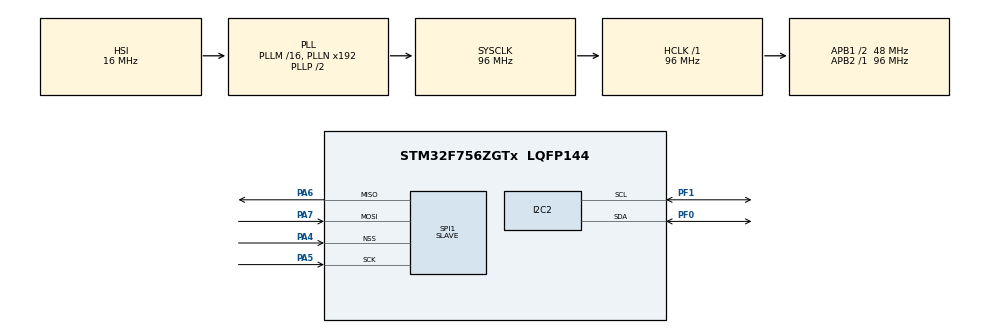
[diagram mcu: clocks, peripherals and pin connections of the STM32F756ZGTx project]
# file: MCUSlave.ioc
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ADC1.Channel-0\#ChannelRegularConversion=ADC_CHANNEL_TEMPSENSOR
ADC1.Channel-1\#ChannelRegularConversion=ADC_CHANNEL_TEMPSENSOR
ADC1.Channel-2\#ChannelRegularConversion=ADC_CHANNEL_TEMPSENSOR
ADC1.Channel-3\#ChannelRegularConversion=ADC_CHANNEL_TEMPSENSOR
ADC1.ContinuousConvMode=ENABLE
ADC1.DMAContinuousRequests=ENABLE
ADC1.NbrOfConversion=4
ADC1.NbrOfConversionFlag=1
ADC1.Rank-0\#ChannelRegularConversion=1
ADC1.Rank-1\#ChannelRegularConversion=2
ADC1.Rank-2\#ChannelRegularConversion=3
ADC1.Rank-3\#ChannelRegularConversion=4
ADC1.SamplingTime-0\#ChannelRegularConversion=ADC_SAMPLETIME_3CYCLES
ADC1.SamplingTime-1\#ChannelRegularConversion=ADC_SAMPLETIME_3CYCLES
ADC1.SamplingTime-2\#ChannelRegularConversion=ADC_SAMPLETIME_3CYCLES
ADC1.SamplingTime-3\#ChannelRegularConversion=ADC_SAMPLETIME_3CYCLES
ADC1.master=1
CORTEX_M7.default_mode_Activation=1
Dma.ADC1.0.Direction=DMA_PERIPH_TO_MEMORY
Dma.ADC1.0.FIFOMode=DMA_FIFOMODE_DISABLE
Dma.ADC1.0.Instance=DMA2_Stream0
Dma.ADC1.0.MemDataAlignment=DMA_MDATAALIGN_HALFWORD
Dma.ADC1.0.MemInc=DMA_MINC_ENABLE
Dma.ADC1.0.Mode=DMA_NORMAL
Dma.ADC1.0.PeriphDataAlignment=DMA_PDATAALIGN_HALFWORD
Dma.ADC1.0.PeriphInc=DMA_PINC_DISABLE
Dma.ADC1.0.Priority=DMA_PRIORITY_LOW
Dma.Request0=ADC1
Dma.Request1=SPI1_RX
Dma.Request2=SPI1_TX
Dma.SPI1_RX.1.Direction=DMA_PERIPH_TO_MEMORY
Dma.SPI1_RX.1.FIFOMode=DMA_FIFOMODE_DISABLE
Dma.SPI1_RX.1.Instance=DMA2_Stream2
Dma.SPI1_RX.1.MemDataAlignment=DMA_MDATAALIGN_BYTE
Dma.SPI1_RX.1.MemInc=DMA_MINC_ENABLE
Dma.SPI1_RX.1.Mode=DMA_NORMAL
Dma.SPI1_RX.1.PeriphDataAlignment=DMA_PDATAALIGN_BYTE
Dma.SPI1_RX.1.PeriphInc=DMA_PINC_DISABLE
Dma.SPI1_RX.1.Priority=DMA_PRIORITY_LOW
Dma.SPI1_TX.2.Direction=DMA_MEMORY_TO_PERIPH
Dma.SPI1_TX.2.FIFOMode=DMA_FIFOMODE_DISABLE
Dma.SPI1_TX.2.Instance=DMA2_Stream3
Dma.SPI1_TX.2.MemDataAlignment=DMA_MDATAALIGN_BYTE
Dma.SPI1_TX.2.MemInc=DMA_MINC_ENABLE
Dma.SPI1_TX.2.Mode=DMA_NORMAL
Dma.SPI1_TX.2.PeriphDataAlignment=DMA_PDATAALIGN_BYTE
Dma.SPI1_TX.2.PeriphInc=DMA_PINC_DISABLE
Dma.SPI1_TX.2.Priority=DMA_PRIORITY_LOW
I2C2.OwnAddress=38
I2C2.Timing=0x20303E5D
Mcu.Family=STM32F7
Mcu.Name=STM32F756ZGTx
Mcu.Package=LQFP144
NVIC.DMA2_Stream0_IRQn=true\:0\:0\:false\:false\:true\:false\:true\:true
NVIC.DMA2_Stream2_IRQn=true\:0\:0\:false\:false\:true\:false\:true\:true
NVIC.DMA2_Stream3_IRQn=true\:0\:0\:false\:false\:true\:false\:true\:true
NVIC.I2C2_EV_IRQn=true\:0\:0\:false\:false\:true\:true\:true\:true
NVIC.PriorityGroup=NVIC_PRIORITYGROUP_4
NVIC.TIM6_DAC_IRQn=true\:0\:0\:false\:false\:true\:true\:true\:true
PA4.Mode=NSS_Signal_Hard_Input
PA4.Signal=SPI1_NSS
PA5.Mode=Full_Duplex_Slave
PA5.Signal=SPI1_SCK
PA6.Mode=Full_Duplex_Slave
PA6.Signal=SPI1_MISO
PA7.Mode=Full_Duplex_Slave
PA7.Signal=SPI1_MOSI
PC14/OSC32_IN.Mode=LSE-External-Oscillator
PC14/OSC32_IN.Signal=RCC_OSC32_IN
PC15/OSC32_OUT.Mode=LSE-External-Oscillator
PC15/OSC32_OUT.Signal=RCC_OSC32_OUT
PF0.GPIO_Pu=GPIO_PULLUP
PF0.Mode=I2C
PF0.Signal=I2C2_SDA
PF1.GPIO_Pu=GPIO_PULLUP
PF1.Mode=I2C
PF1.Signal=I2C2_SCL
ProjectManager.HeapSize=0x200
ProjectManager.StackSize=0x400
ProjectManager.TargetToolchain=STM32CubeIDE
RCC.AHBFreq_Value=96000000
RCC.APB1CLKDivider=RCC_HCLK_DIV2
RCC.APB1Freq_Value=48000000
RCC.APB1TimFreq_Value=96000000
RCC.APB2Freq_Value=96000000
RCC.APB2TimFreq_Value=96000000
RCC.CortexFreq_Value=96000000
RCC.HCLKFreq_Value=96000000
RCC.HSE_VALUE=25000000
RCC.HSI_VALUE=16000000
RCC.RTCClockSelection=RCC_RTCCLKSOURCE_LSE
RCC.SYSCLKFreq_VALUE=96000000
RCC.SYSCLKSource=RCC_SYSCLKSOURCE_PLLCLK
RCC.USBFreq_Value=96000000
RCC.VCOOutputFreq_Value=192000000
SPI1.CLKPhase=SPI_PHASE_2EDGE
SPI1.DataSize=SPI_DATASIZE_8BIT
SPI1.Direction=SPI_DIRECTION_2LINES
SPI1.Mode=SPI_MODE_SLAVE
SPI1.VirtualNSS=VM_NSSHARD
SPI1.VirtualType=VM_SLAVE
TIM6.Period=16000
TIM6.Prescaler=9
VP_ADC1_TempSens_Input.Mode=IN-TempSens
VP_RTC_VS_RTC_Activate.Mode=RTC_Enabled
VP_RTC_VS_RTC_Calendar.Mode=RTC_Calendar
VP_TIM6_VS_ClockSourceINT.Mode=Enable_Timer
board=custom

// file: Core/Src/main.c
/* USER CODE BEGIN Header */
/**
  ******************************************************************************
  * @file           : main.c
  * @brief          : Main program body
  ******************************************************************************
  * @attention
  *
  * Copyright (c) 2025 STMicroelectronics.
  * All rights reserved.
  *
  * This software is licensed under terms that can be found in the LICENSE file
  * in the root directory of this software component.
  * If no LICENSE file comes with this software, it is provided AS-IS.
  *
  ******************************************************************************
  */
/* USER CODE END Header */
#include "main.h"

/* USER CODE BEGIN Includes */
#include <string.h>
/* USER CODE END Includes */

ADC_HandleTypeDef hadc1;
DMA_HandleTypeDef hdma_adc1;

I2C_HandleTypeDef hi2c2;

RTC_HandleTypeDef hrtc;

SPI_HandleTypeDef hspi1;
DMA_HandleTypeDef hdma_spi1_rx;
DMA_HandleTypeDef hdma_spi1_tx;

TIM_HandleTypeDef htim6;

/* USER CODE BEGIN PV */
uint8_t receive_buffer_spi[32] = {0};
uint8_t send_data_spi[32] = {0};
uint8_t receive_buffer[32] = {0};
uint8_t send_data[32] = {0};
uint16_t adcValues[16];
float cpu_temperature = 0;
enum CommandType
{
	RTCRequest = 0x31,
	ResetRTC = 0x32,
	CPUTempRequest = 0x33
};
enum CommandType command = 0;
/* USER CODE END PV */

void SystemClock_Config(void);
static void MPU_Config(void);
static void MX_GPIO_Init(void);
static void MX_DMA_Init(void);
static void MX_SPI1_Init(void);
static void MX_RTC_Init(void);
static void MX_I2C2_Init(void);
static void MX_ADC1_Init(void);
static void MX_TIM6_Init(void);

/* USER CODE BEGIN 0 */
void resetRTC(uint8_t* data)
{
	RTC_TimeTypeDef time = {0};
	RTC_DateTypeDef date = {0};
	time.Hours = data[4];
	time.Minutes = data[5];
	time.Seconds = data[6];
	time.DayLightSaving = RTC_DAYLIGHTSAVING_NONE;
	time.StoreOperation = RTC_STOREOPERATION_RESET;
	if (HAL_RTC_SetTime(&hrtc, &time, RTC_FORMAT_BIN) != HAL_OK)
	{
		Error_Handler();
	}
	date.Year = data[0];
	date.Month = data[1];
	date.Date = data[2];
	date.WeekDay = data[3];

	if (HAL_RTC_SetDate(&hrtc, &date, RTC_FORMAT_BIN) != HAL_OK)
	{
		Error_Handler();
	}
}

void HAL_SPI_TxRxCpltCallback(SPI_HandleTypeDef *hspi)
{

}

void HAL_SPI_ErrorCallback(SPI_HandleTypeDef *hspi)
{
	if (__HAL_SPI_GET_FLAG(hspi, SPI_FLAG_OVR))
	{
		__HAL_SPI_CLEAR_OVRFLAG(hspi);
	}
	HAL_SPI_TransmitReceive_DMA(&hspi1, send_data_spi, receive_buffer_spi, 32);
}

void HAL_I2C_AddrCallback(I2C_HandleTypeDef *hi2c, uint8_t TransferDirection, uint16_t AddrMatchCode)
{
	if (TransferDirection == I2C_DIRECTION_TRANSMIT)
	{
		HAL_I2C_Slave_Seq_Receive_IT(hi2c, receive_buffer, 32, I2C_FIRST_FRAME);
	}
	else
	{
		switch (command)
		{
		case RTCRequest:
		{
			RTC_TimeTypeDef time = {0};
			RTC_DateTypeDef date = {0};
		    if (HAL_RTC_GetTime(&hrtc, &time, RTC_FORMAT_BIN) == HAL_OK &&
		        HAL_RTC_GetDate(&hrtc, &date, RTC_FORMAT_BIN) == HAL_OK)
		    {
		    	send_data[0] = date.Year;
		    	send_data[1] = date.Month;
		    	send_data[2] = date.Date;
		    	send_data[3] = date.WeekDay;
		    	send_data[4] = time.Hours;
		    	send_data[5] = time.Minutes;
		    	send_data[6] = time.Seconds;
		    	HAL_I2C_Slave_Seq_Transmit_IT(hi2c, send_data, 7, I2C_LAST_FRAME);
		    }

			break;
		}
		case CPUTempRequest:
		{
			uint8_t * p_temperature = (uint8_t*)(&cpu_temperature);
			send_data[0] = p_temperature[0];
			send_data[1] = p_temperature[1];
			send_data[2] = p_temperature[2];
			send_data[3] = p_temperature[3];
			HAL_I2C_Slave_Seq_Transmit_IT(hi2c, send_data, 4, I2C_LAST_FRAME);
			break;
		}
		default:
			break;
		}

	}
}

void HAL_I2C_ListenCpltCallback(I2C_HandleTypeDef *hi2c)
{
	HAL_I2C_EnableListen_IT(&hi2c2);
}

void HAL_I2C_SlaveTxCpltCallback(I2C_HandleTypeDef *hi2c)
{
	HAL_I2C_EnableListen_IT(&hi2c2);
}

void HAL_I2C_SlaveRxCpltCallback(I2C_HandleTypeDef *hi2c)
{
	command = receive_buffer[0];
	switch (command)
	{
	case RTCRequest:
	case CPUTempRequest:
		break;
	case ResetRTC:
		resetRTC(&receive_buffer[1]);
		break;
	default:
		break;
	}
	HAL_I2C_EnableListen_IT(&hi2c2);
}

void startADCConversion()
{
	HAL_ADC_Start_DMA(&hadc1, (uint32_t*)adcValues, hadc1.Init.NbrOfConversion);
}

void HAL_ADC_ConvCpltCallback(ADC_HandleTypeDef *hadc)
{
	float temperature = 0;
    for (int i = 0; i < hadc->Init.NbrOfConversion; ++i)
    {
    	temperature += (((float)adcValues[i] * 3.3/4096.0) - 0.76)/2.5 + 25.0;
    }
    cpu_temperature = temperature / (float)hadc->Init.NbrOfConversion;
}

/* USER CODE END 0 */

int main(void)
{

  /* MPU Configuration--------------------------------------------------------*/
  MPU_Config();

  /* MCU Configuration--------------------------------------------------------*/

  /* Reset of all peripherals, Initializes the Flash interface and the Systick. */
  HAL_Init();

  /* Configure the system clock */
  SystemClock_Config();

  /* Initialize all configured peripherals */
  MX_GPIO_Init();
  MX_DMA_Init();
  MX_SPI1_Init();
  MX_RTC_Init();
  MX_I2C2_Init();
  MX_ADC1_Init();
  MX_TIM6_Init();
  /* USER CODE BEGIN 2 */
  //HAL_SPI_TransmitReceive_IT(&hspi1, send_data_spi, receive_buffer_spi, 32);
  HAL_I2C_EnableListen_IT(&hi2c2);
  HAL_TIM_Base_Start_IT(&htim6);
  /* USER CODE END 2 */

  /* Infinite loop */
  while (1)
  {
	  if (hspi1.State == HAL_SPI_STATE_READY)
	  {
			uint32_t ticks = HAL_GetTick();
			uint8_t* p_cputicks = (uint8_t*)&ticks;
			memset(send_data_spi, 0, 32);
			send_data_spi[1] = receive_buffer_spi[1];
			memset(receive_buffer_spi, 0, 32);
			send_data_spi[0] = 6U;
			send_data_spi[2] = p_cputicks[0];
			send_data_spi[3] = p_cputicks[1];
			send_data_spi[4] = p_cputicks[2];
			send_data_spi[5] = p_cputicks[3];
			HAL_SPI_TransmitReceive_DMA(&hspi1, send_data_spi, receive_buffer_spi, 32);
	  }
  }
}

void SystemClock_Config(void)
{
  RCC_OscInitTypeDef RCC_OscInitStruct = {0};
  RCC_ClkInitTypeDef RCC_ClkInitStruct = {0};

  /** Configure LSE Drive Capability
  */
  HAL_PWR_EnableBkUpAccess();
  __HAL_RCC_LSEDRIVE_CONFIG(RCC_LSEDRIVE_LOW);

  /** Configure the main internal regulator output voltage
  */
  __HAL_RCC_PWR_CLK_ENABLE();
  __HAL_PWR_VOLTAGESCALING_CONFIG(PWR_REGULATOR_VOLTAGE_SCALE3);

  /** Initializes the RCC Oscillators according to the specified parameters
  * in the RCC_OscInitTypeDef structure.
  */
  RCC_OscInitStruct.OscillatorType = RCC_OSCILLATORTYPE_HSI|RCC_OSCILLATORTYPE_LSE;
  RCC_OscInitStruct.LSEState = RCC_LSE_ON;
  RCC_OscInitStruct.HSIState = RCC_HSI_ON;
  RCC_OscInitStruct.HSICalibrationValue = RCC_HSICALIBRATION_DEFAULT;
  RCC_OscInitStruct.PLL.PLLState = RCC_PLL_ON;
  RCC_OscInitStruct.PLL.PLLSource = RCC_PLLSOURCE_HSI;
  RCC_OscInitStruct.PLL.PLLM = 16;
  RCC_OscInitStruct.PLL.PLLN = 192;
  RCC_OscInitStruct.PLL.PLLP = RCC_PLLP_DIV2;
  RCC_OscInitStruct.PLL.PLLQ = 2;
  if (HAL_RCC_OscConfig(&RCC_OscInitStruct) != HAL_OK)
  {
    Error_Handler();
  }

  /** Activate the Over-Drive mode
  */
  if (HAL_PWREx_EnableOverDrive() != HAL_OK)
  {
    Error_Handler();
  }

  /** Initializes the CPU, AHB and APB buses clocks
  */
  RCC_ClkInitStruct.ClockType = RCC_CLOCKTYPE_HCLK|RCC_CLOCKTYPE_SYSCLK
                              |RCC_CLOCKTYPE_PCLK1|RCC_CLOCKTYPE_PCLK2;
  RCC_ClkInitStruct.SYSCLKSource = RCC_SYSCLKSOURCE_PLLCLK;
  RCC_ClkInitStruct.AHBCLKDivider = RCC_SYSCLK_DIV1;
  RCC_ClkInitStruct.APB1CLKDivider = RCC_HCLK_DIV2;
  RCC_ClkInitStruct.APB2CLKDivider = RCC_HCLK_DIV1;

  if (HAL_RCC_ClockConfig(&RCC_ClkInitStruct, FLASH_LATENCY_3) != HAL_OK)
  {
    Error_Handler();
  }
}

static void MX_ADC1_Init(void)
{

  ADC_ChannelConfTypeDef sConfig = {0};

  /** Configure the global features of the ADC (Clock, Resolution, Data Alignment and number of conversion)
  */
  hadc1.Instance = ADC1;
  hadc1.Init.ClockPrescaler = ADC_CLOCK_SYNC_PCLK_DIV4;
  hadc1.Init.Resolution = ADC_RESOLUTION_12B;
  hadc1.Init.ScanConvMode = ADC_SCAN_ENABLE;
  hadc1.Init.ContinuousConvMode = ENABLE;
  hadc1.Init.DiscontinuousConvMode = DISABLE;
  hadc1.Init.ExternalTrigConvEdge = ADC_EXTERNALTRIGCONVEDGE_NONE;
  hadc1.Init.ExternalTrigConv = ADC_SOFTWARE_START;
  hadc1.Init.DataAlign = ADC_DATAALIGN_RIGHT;
  hadc1.Init.NbrOfConversion = 4;
  hadc1.Init.DMAContinuousRequests = ENABLE;
  hadc1.Init.EOCSelection = ADC_EOC_SINGLE_CONV;
  if (HAL_ADC_Init(&hadc1) != HAL_OK)
  {
    Error_Handler();
  }

  /** Configure for the selected ADC regular channel its corresponding rank in the sequencer and its sample time.
  */
  sConfig.Channel = ADC_CHANNEL_TEMPSENSOR;
  sConfig.Rank = ADC_REGULAR_RANK_1;
  sConfig.SamplingTime = ADC_SAMPLETIME_3CYCLES;
  if (HAL_ADC_ConfigChannel(&hadc1, &sConfig) != HAL_OK)
  {
    Error_Handler();
  }

  /** Configure for the selected ADC regular channel its corresponding rank in the sequencer and its sample time.
  */
  sConfig.Rank = ADC_REGULAR_RANK_2;
  if (HAL_ADC_ConfigChannel(&hadc1, &sConfig) != HAL_OK)
  {
    Error_Handler();
  }

  /** Configure for the selected ADC regular channel its corresponding rank in the sequencer and its sample time.
  */
  sConfig.Rank = ADC_REGULAR_RANK_3;
  if (HAL_ADC_ConfigChannel(&hadc1, &sConfig) != HAL_OK)
  {
    Error_Handler();
  }

  /** Configure for the selected ADC regular channel its corresponding rank in the sequencer and its sample time.
  */
  sConfig.Rank = ADC_REGULAR_RANK_4;
  if (HAL_ADC_ConfigChannel(&hadc1, &sConfig) != HAL_OK)
  {
    Error_Handler();
  }

}

static void MX_I2C2_Init(void)
{

  hi2c2.Instance = I2C2;
  hi2c2.Init.Timing = 0x20303E5D;
  hi2c2.Init.OwnAddress1 = 76;
  hi2c2.Init.AddressingMode = I2C_ADDRESSINGMODE_7BIT;
  hi2c2.Init.DualAddressMode = I2C_DUALADDRESS_DISABLE;
  hi2c2.Init.OwnAddress2 = 0;
  hi2c2.Init.OwnAddress2Masks = I2C_OA2_NOMASK;
  hi2c2.Init.GeneralCallMode = I2C_GENERALCALL_DISABLE;
  hi2c2.Init.NoStretchMode = I2C_NOSTRETCH_DISABLE;
  if (HAL_I2C_Init(&hi2c2) != HAL_OK)
  {
    Error_Handler();
  }

  /** Configure Analogue filter
  */
  if (HAL_I2CEx_ConfigAnalogFilter(&hi2c2, I2C_ANALOGFILTER_ENABLE) != HAL_OK)
  {
    Error_Handler();
  }

  /** Configure Digital filter
  */
  if (HAL_I2CEx_ConfigDigitalFilter(&hi2c2, 0) != HAL_OK)
  {
    Error_Handler();
  }

}

static void MX_RTC_Init(void)
{

  RTC_TimeTypeDef sTime = {0};
  RTC_DateTypeDef sDate = {0};

  /** Initialize RTC Only
  */
  hrtc.Instance = RTC;
  hrtc.Init.HourFormat = RTC_HOURFORMAT_24;
  hrtc.Init.AsynchPrediv = 127;
  hrtc.Init.SynchPrediv = 255;
  hrtc.Init.OutPut = RTC_OUTPUT_DISABLE;
  hrtc.Init.OutPutPolarity = RTC_OUTPUT_POLARITY_HIGH;
  hrtc.Init.OutPutType = RTC_OUTPUT_TYPE_OPENDRAIN;
  if (HAL_RTC_Init(&hrtc) != HAL_OK)
  {
    Error_Handler();
  }

  /** Initialize RTC and set the Time and Date
  */
  sTime.Hours = 0x0;
  sTime.Minutes = 0x0;
  sTime.Seconds = 0x0;
  sTime.DayLightSaving = RTC_DAYLIGHTSAVING_NONE;
  sTime.StoreOperation = RTC_STOREOPERATION_RESET;
  if (HAL_RTC_SetTime(&hrtc, &sTime, RTC_FORMAT_BCD) != HAL_OK)
  {
    Error_Handler();
  }
  sDate.WeekDay = RTC_WEEKDAY_MONDAY;
  sDate.Month = RTC_MONTH_JANUARY;
  sDate.Date = 0x1;
  sDate.Year = 0x0;

  if (HAL_RTC_SetDate(&hrtc, &sDate, RTC_FORMAT_BCD) != HAL_OK)
  {
    Error_Handler();
  }

}

static void MX_SPI1_Init(void)
{

  /* SPI1 parameter configuration*/
  hspi1.Instance = SPI1;
  hspi1.Init.Mode = SPI_MODE_SLAVE;
  hspi1.Init.Direction = SPI_DIRECTION_2LINES;
  hspi1.Init.DataSize = SPI_DATASIZE_8BIT;
  hspi1.Init.CLKPolarity = SPI_POLARITY_LOW;
  hspi1.Init.CLKPhase = SPI_PHASE_2EDGE;
  hspi1.Init.NSS = SPI_NSS_HARD_INPUT;
  hspi1.Init.FirstBit = SPI_FIRSTBIT_MSB;
  hspi1.Init.TIMode = SPI_TIMODE_DISABLE;
  hspi1.Init.CRCCalculation = SPI_CRCCALCULATION_DISABLE;
  hspi1.Init.CRCPolynomial = 7;
  hspi1.Init.CRCLength = SPI_CRC_LENGTH_DATASIZE;
  hspi1.Init.NSSPMode = SPI_NSS_PULSE_DISABLE;
  if (HAL_SPI_Init(&hspi1) != HAL_OK)
  {
    Error_Handler();
  }

}

static void MX_TIM6_Init(void)
{

  TIM_MasterConfigTypeDef sMasterConfig = {0};

  htim6.Instance = TIM6;
  htim6.Init.Prescaler = 9;
  htim6.Init.CounterMode = TIM_COUNTERMODE_UP;
  htim6.Init.Period = 16000;
  htim6.Init.AutoReloadPreload = TIM_AUTORELOAD_PRELOAD_DISABLE;
  if (HAL_TIM_Base_Init(&htim6) != HAL_OK)
  {
    Error_Handler();
  }
  sMasterConfig.MasterOutputTrigger = TIM_TRGO_RESET;
  sMasterConfig.MasterSlaveMode = TIM_MASTERSLAVEMODE_DISABLE;
  if (HAL_TIMEx_MasterConfigSynchronization(&htim6, &sMasterConfig) != HAL_OK)
  {
    Error_Handler();
  }

}

static void MX_DMA_Init(void)
{

  /* DMA controller clock enable */
  __HAL_RCC_DMA2_CLK_ENABLE();

  /* DMA interrupt init */
  /* DMA2_Stream0_IRQn interrupt configuration */
  HAL_NVIC_SetPriority(DMA2_Stream0_IRQn, 0, 0);
  HAL_NVIC_EnableIRQ(DMA2_Stream0_IRQn);
  /* DMA2_Stream2_IRQn interrupt configuration */
  HAL_NVIC_SetPriority(DMA2_Stream2_IRQn, 0, 0);
  HAL_NVIC_EnableIRQ(DMA2_Stream2_IRQn);
  /* DMA2_Stream3_IRQn interrupt configuration */
  HAL_NVIC_SetPriority(DMA2_Stream3_IRQn, 0, 0);
  HAL_NVIC_EnableIRQ(DMA2_Stream3_IRQn);

}

static void MX_GPIO_Init(void)
{

  /* GPIO Ports Clock Enable */
  __HAL_RCC_GPIOC_CLK_ENABLE();
  __HAL_RCC_GPIOF_CLK_ENABLE();
  __HAL_RCC_GPIOA_CLK_ENABLE();

}

 /* MPU Configuration */

void MPU_Config(void)
{
  MPU_Region_InitTypeDef MPU_InitStruct = {0};

  /* Disables the MPU */
  HAL_MPU_Disable();

  /** Initializes and configures the Region and the memory to be protected
  */
  MPU_InitStruct.Enable = MPU_REGION_ENABLE;
  MPU_InitStruct.Number = MPU_REGION_NUMBER0;
  MPU_InitStruct.BaseAddress = 0x0;
  MPU_InitStruct.Size = MPU_REGION_SIZE_4GB;
  MPU_InitStruct.SubRegionDisable = 0x87;
  MPU_InitStruct.TypeExtField = MPU_TEX_LEVEL0;
  MPU_InitStruct.AccessPermission = MPU_REGION_NO_ACCESS;
  MPU_InitStruct.DisableExec = MPU_INSTRUCTION_ACCESS_DISABLE;
  MPU_InitStruct.IsShareable = MPU_ACCESS_SHAREABLE;
  MPU_InitStruct.IsCacheable = MPU_ACCESS_NOT_CACHEABLE;
  MPU_InitStruct.IsBufferable = MPU_ACCESS_NOT_BUFFERABLE;

  HAL_MPU_ConfigRegion(&MPU_InitStruct);
  /* Enables the MPU */
  HAL_MPU_Enable(MPU_PRIVILEGED_DEFAULT);

}

void Error_Handler(void)
{
  __disable_irq();
  while (1)
  {
  }
}
